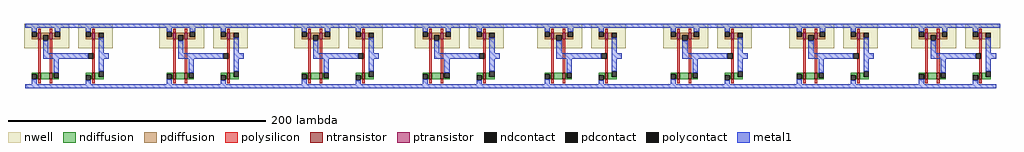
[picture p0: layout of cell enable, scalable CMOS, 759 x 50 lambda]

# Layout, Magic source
magic
tech scmos
<< nwell >>
rect 575 80 610 99
rect 617 80 644 99
rect 680 80 715 99
rect 722 80 749 99
rect 785 80 820 99
rect 827 80 854 99
rect 879 80 914 99
rect 921 80 948 99
rect 974 80 1009 99
rect 1016 80 1043 99
rect 1072 80 1107 99
rect 1114 80 1141 99
rect 1170 80 1205 99
rect 1212 80 1239 99
rect 1265 80 1300 99
rect 1307 80 1334 99
<< ntransistor >>
rect 586 56 588 61
rect 595 56 597 61
rect 628 56 630 61
rect 691 56 693 61
rect 700 56 702 61
rect 733 56 735 61
rect 796 56 798 61
rect 805 56 807 61
rect 838 56 840 61
rect 890 56 892 61
rect 899 56 901 61
rect 932 56 934 61
rect 985 56 987 61
rect 994 56 996 61
rect 1027 56 1029 61
rect 1083 56 1085 61
rect 1092 56 1094 61
rect 1125 56 1127 61
rect 1181 56 1183 61
rect 1190 56 1192 61
rect 1223 56 1225 61
rect 1276 56 1278 61
rect 1285 56 1287 61
rect 1318 56 1320 61
<< ptransistor >>
rect 586 87 588 92
rect 595 87 597 92
rect 628 87 630 92
rect 691 87 693 92
rect 700 87 702 92
rect 733 87 735 92
rect 796 87 798 92
rect 805 87 807 92
rect 838 87 840 92
rect 890 87 892 92
rect 899 87 901 92
rect 932 87 934 92
rect 985 87 987 92
rect 994 87 996 92
rect 1027 87 1029 92
rect 1083 87 1085 92
rect 1092 87 1094 92
rect 1125 87 1127 92
rect 1181 87 1183 92
rect 1190 87 1192 92
rect 1223 87 1225 92
rect 1276 87 1278 92
rect 1285 87 1287 92
rect 1318 87 1320 92
<< ndiffusion >>
rect 581 60 586 61
rect 585 56 586 60
rect 588 56 595 61
rect 597 57 598 61
rect 597 56 602 57
rect 623 59 628 61
rect 627 56 628 59
rect 630 58 633 61
rect 630 56 637 58
rect 686 60 691 61
rect 690 56 691 60
rect 693 56 700 61
rect 702 57 703 61
rect 702 56 707 57
rect 728 59 733 61
rect 732 56 733 59
rect 735 58 738 61
rect 735 56 742 58
rect 791 60 796 61
rect 795 56 796 60
rect 798 56 805 61
rect 807 57 808 61
rect 807 56 812 57
rect 833 59 838 61
rect 837 56 838 59
rect 840 58 843 61
rect 840 56 847 58
rect 885 60 890 61
rect 889 56 890 60
rect 892 56 899 61
rect 901 57 902 61
rect 901 56 906 57
rect 927 59 932 61
rect 931 56 932 59
rect 934 58 937 61
rect 934 56 941 58
rect 980 60 985 61
rect 984 56 985 60
rect 987 56 994 61
rect 996 57 997 61
rect 996 56 1001 57
rect 1022 59 1027 61
rect 1026 56 1027 59
rect 1029 58 1032 61
rect 1029 56 1036 58
rect 1078 60 1083 61
rect 1082 56 1083 60
rect 1085 56 1092 61
rect 1094 57 1095 61
rect 1094 56 1099 57
rect 1120 59 1125 61
rect 1124 56 1125 59
rect 1127 58 1130 61
rect 1127 56 1134 58
rect 1176 60 1181 61
rect 1180 56 1181 60
rect 1183 56 1190 61
rect 1192 57 1193 61
rect 1192 56 1197 57
rect 1218 59 1223 61
rect 1222 56 1223 59
rect 1225 58 1228 61
rect 1225 56 1232 58
rect 1271 60 1276 61
rect 1275 56 1276 60
rect 1278 56 1285 61
rect 1287 57 1288 61
rect 1287 56 1292 57
rect 1313 59 1318 61
rect 1317 56 1318 59
rect 1320 58 1323 61
rect 1320 56 1327 58
<< pdiffusion >>
rect 585 89 586 92
rect 581 87 586 89
rect 588 90 595 92
rect 588 87 590 90
rect 594 87 595 90
rect 597 89 599 92
rect 597 87 603 89
rect 627 89 628 92
rect 623 87 628 89
rect 630 88 633 92
rect 630 87 637 88
rect 690 89 691 92
rect 686 87 691 89
rect 693 90 700 92
rect 693 87 695 90
rect 699 87 700 90
rect 702 89 704 92
rect 702 87 708 89
rect 732 89 733 92
rect 728 87 733 89
rect 735 88 738 92
rect 735 87 742 88
rect 795 89 796 92
rect 791 87 796 89
rect 798 90 805 92
rect 798 87 800 90
rect 804 87 805 90
rect 807 89 809 92
rect 807 87 813 89
rect 837 89 838 92
rect 833 87 838 89
rect 840 88 843 92
rect 840 87 847 88
rect 889 89 890 92
rect 885 87 890 89
rect 892 90 899 92
rect 892 87 894 90
rect 898 87 899 90
rect 901 89 903 92
rect 901 87 907 89
rect 931 89 932 92
rect 927 87 932 89
rect 934 88 937 92
rect 934 87 941 88
rect 984 89 985 92
rect 980 87 985 89
rect 987 90 994 92
rect 987 87 989 90
rect 993 87 994 90
rect 996 89 998 92
rect 996 87 1002 89
rect 1026 89 1027 92
rect 1022 87 1027 89
rect 1029 88 1032 92
rect 1029 87 1036 88
rect 1082 89 1083 92
rect 1078 87 1083 89
rect 1085 90 1092 92
rect 1085 87 1087 90
rect 1091 87 1092 90
rect 1094 89 1096 92
rect 1094 87 1100 89
rect 1124 89 1125 92
rect 1120 87 1125 89
rect 1127 88 1130 92
rect 1127 87 1134 88
rect 1180 89 1181 92
rect 1176 87 1181 89
rect 1183 90 1190 92
rect 1183 87 1185 90
rect 1189 87 1190 90
rect 1192 89 1194 92
rect 1192 87 1198 89
rect 1222 89 1223 92
rect 1218 87 1223 89
rect 1225 88 1228 92
rect 1225 87 1232 88
rect 1275 89 1276 92
rect 1271 87 1276 89
rect 1278 90 1285 92
rect 1278 87 1280 90
rect 1284 87 1285 90
rect 1287 89 1289 92
rect 1287 87 1293 89
rect 1317 89 1318 92
rect 1313 87 1318 89
rect 1320 88 1323 92
rect 1320 87 1327 88
<< ndcontact >>
rect 581 56 585 60
rect 598 57 602 61
rect 623 55 627 59
rect 633 58 637 62
rect 686 56 690 60
rect 703 57 707 61
rect 728 55 732 59
rect 738 58 742 62
rect 791 56 795 60
rect 808 57 812 61
rect 833 55 837 59
rect 843 58 847 62
rect 885 56 889 60
rect 902 57 906 61
rect 927 55 931 59
rect 937 58 941 62
rect 980 56 984 60
rect 997 57 1001 61
rect 1022 55 1026 59
rect 1032 58 1036 62
rect 1078 56 1082 60
rect 1095 57 1099 61
rect 1120 55 1124 59
rect 1130 58 1134 62
rect 1176 56 1180 60
rect 1193 57 1197 61
rect 1218 55 1222 59
rect 1228 58 1232 62
rect 1271 56 1275 60
rect 1288 57 1292 61
rect 1313 55 1317 59
rect 1323 58 1327 62
<< pdcontact >>
rect 581 89 585 93
rect 590 86 594 90
rect 599 89 603 93
rect 623 89 627 93
rect 633 88 637 92
rect 686 89 690 93
rect 695 86 699 90
rect 704 89 708 93
rect 728 89 732 93
rect 738 88 742 92
rect 791 89 795 93
rect 800 86 804 90
rect 809 89 813 93
rect 833 89 837 93
rect 843 88 847 92
rect 885 89 889 93
rect 894 86 898 90
rect 903 89 907 93
rect 927 89 931 93
rect 937 88 941 92
rect 980 89 984 93
rect 989 86 993 90
rect 998 89 1002 93
rect 1022 89 1026 93
rect 1032 88 1036 92
rect 1078 89 1082 93
rect 1087 86 1091 90
rect 1096 89 1100 93
rect 1120 89 1124 93
rect 1130 88 1134 92
rect 1176 89 1180 93
rect 1185 86 1189 90
rect 1194 89 1198 93
rect 1218 89 1222 93
rect 1228 88 1232 92
rect 1271 89 1275 93
rect 1280 86 1284 90
rect 1289 89 1293 93
rect 1313 89 1317 93
rect 1323 88 1327 92
<< polysilicon >>
rect 586 92 588 95
rect 595 92 597 95
rect 586 61 588 87
rect 628 92 630 95
rect 691 92 693 95
rect 700 92 702 95
rect 595 61 597 87
rect 628 76 630 87
rect 629 72 630 76
rect 628 61 630 72
rect 586 53 588 56
rect 595 53 597 56
rect 691 61 693 87
rect 733 92 735 95
rect 796 92 798 95
rect 805 92 807 95
rect 700 61 702 87
rect 733 76 735 87
rect 734 72 735 76
rect 733 61 735 72
rect 628 53 630 56
rect 691 53 693 56
rect 700 53 702 56
rect 796 61 798 87
rect 838 92 840 95
rect 890 92 892 95
rect 899 92 901 95
rect 805 61 807 87
rect 838 76 840 87
rect 839 72 840 76
rect 838 61 840 72
rect 733 53 735 56
rect 796 53 798 56
rect 805 53 807 56
rect 890 61 892 87
rect 932 92 934 95
rect 985 92 987 95
rect 994 92 996 95
rect 899 61 901 87
rect 932 76 934 87
rect 933 72 934 76
rect 932 61 934 72
rect 838 53 840 56
rect 890 53 892 56
rect 899 53 901 56
rect 985 61 987 87
rect 1027 92 1029 95
rect 1083 92 1085 95
rect 1092 92 1094 95
rect 994 61 996 87
rect 1027 76 1029 87
rect 1028 72 1029 76
rect 1027 61 1029 72
rect 932 53 934 56
rect 985 53 987 56
rect 994 53 996 56
rect 1083 61 1085 87
rect 1125 92 1127 95
rect 1181 92 1183 95
rect 1190 92 1192 95
rect 1092 61 1094 87
rect 1125 76 1127 87
rect 1126 72 1127 76
rect 1125 61 1127 72
rect 1027 53 1029 56
rect 1083 53 1085 56
rect 1092 53 1094 56
rect 1181 61 1183 87
rect 1223 92 1225 95
rect 1276 92 1278 95
rect 1285 92 1287 95
rect 1190 61 1192 87
rect 1223 76 1225 87
rect 1224 72 1225 76
rect 1223 61 1225 72
rect 1125 53 1127 56
rect 1181 53 1183 56
rect 1190 53 1192 56
rect 1276 61 1278 87
rect 1318 92 1320 95
rect 1285 61 1287 87
rect 1318 76 1320 87
rect 1319 72 1320 76
rect 1318 61 1320 72
rect 1223 53 1225 56
rect 1276 53 1278 56
rect 1285 53 1287 56
rect 1318 53 1320 56
<< polycontact >>
rect 625 72 629 76
rect 730 72 734 76
rect 835 72 839 76
rect 929 72 933 76
rect 1024 72 1028 76
rect 1122 72 1126 76
rect 1220 72 1224 76
rect 1315 72 1319 76
<< metal1 >>
rect 576 96 1334 99
rect 581 93 585 96
rect 599 93 603 96
rect 623 93 627 96
rect 686 93 690 96
rect 590 76 594 86
rect 704 93 708 96
rect 633 76 637 88
rect 728 93 732 96
rect 791 93 795 96
rect 695 76 699 86
rect 809 93 813 96
rect 738 76 742 88
rect 833 93 837 96
rect 885 93 889 96
rect 800 76 804 86
rect 903 93 907 96
rect 843 76 847 88
rect 927 93 931 96
rect 980 93 984 96
rect 894 76 898 86
rect 998 93 1002 96
rect 937 76 941 88
rect 1022 93 1026 96
rect 1078 93 1082 96
rect 989 76 993 86
rect 1096 93 1100 96
rect 1032 76 1036 88
rect 1120 93 1124 96
rect 1176 93 1180 96
rect 1087 76 1091 86
rect 1194 93 1198 96
rect 1130 76 1134 88
rect 1218 93 1222 96
rect 1271 93 1275 96
rect 1185 76 1189 86
rect 1289 93 1293 96
rect 1228 76 1232 88
rect 1313 93 1317 96
rect 1280 76 1284 86
rect 1323 76 1327 88
rect 590 72 625 76
rect 633 72 641 76
rect 695 72 730 76
rect 738 72 746 76
rect 800 72 835 76
rect 843 72 851 76
rect 894 72 929 76
rect 937 72 945 76
rect 989 72 1024 76
rect 1032 72 1040 76
rect 1087 72 1122 76
rect 1130 72 1138 76
rect 1185 72 1220 76
rect 1228 72 1236 76
rect 1280 72 1315 76
rect 1323 72 1331 76
rect 598 61 602 72
rect 633 62 637 72
rect 581 52 585 56
rect 703 61 707 72
rect 623 52 627 55
rect 738 62 742 72
rect 686 52 690 56
rect 808 61 812 72
rect 728 52 732 55
rect 843 62 847 72
rect 791 52 795 56
rect 902 61 906 72
rect 833 52 837 55
rect 937 62 941 72
rect 885 52 889 56
rect 997 61 1001 72
rect 927 52 931 55
rect 1032 62 1036 72
rect 980 52 984 56
rect 1095 61 1099 72
rect 1022 52 1026 55
rect 1130 62 1134 72
rect 1078 52 1082 56
rect 1193 61 1197 72
rect 1120 52 1124 55
rect 1228 62 1232 72
rect 1176 52 1180 56
rect 1288 61 1292 72
rect 1218 52 1222 55
rect 1323 62 1327 72
rect 1271 52 1275 56
rect 1313 52 1317 55
rect 576 49 1331 52
<< end >>
